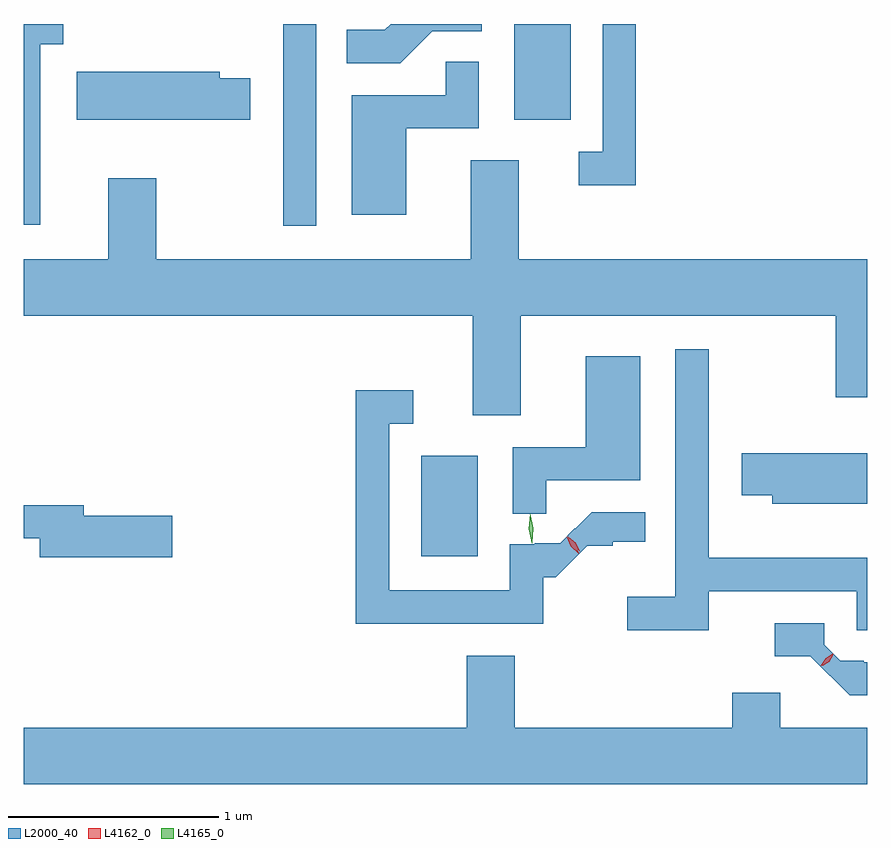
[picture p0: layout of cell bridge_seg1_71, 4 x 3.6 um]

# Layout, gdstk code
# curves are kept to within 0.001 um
import gdstk
lib = gdstk.Library(unit=1e-6, precision=1e-09)
def R(c, l, rs):  # rectangles x0, y0, x1, y1
    for r in rs: c.add(gdstk.rectangle(r[:2], r[2:], *l))
def P(c, l, *ps):  # polygons
    for p in ps: c.add(gdstk.Polygon(p, *l))
L2000_40 = (2000, 40)
L4162_0 = (4162, 0)
L4165_0 = (4165, 0)

bridge_seg1_71 = lib.new_cell('bridge_seg1_71')
R(bridge_seg1_71, L2000_40, [(1763.676,947.276,1763.944,947.754), (1763.021,948.843,1763.179,949.801), (1764.116,949.346,1764.384,949.801)])
P(bridge_seg1_71, L2000_40, [(1761.869,949.706),(1761.978,949.706),(1761.978,949.801),(1761.791,949.801),(1761.791,948.848),(1761.869,948.848)],
  [(1764.694,949.801),(1764.536,949.801),(1764.536,949.194),(1764.423,949.194),(1764.423,949.036),(1764.694,949.036)],
  [(1763.727,949.766),(1763.964,949.766),(1763.964,949.801),(1763.531,949.801),(1763.504,949.774),(1763.323,949.774),(1763.323,949.616),(1763.577,949.616)],
  [(1763.604,949.306),(1763.949,949.306),(1763.949,949.623),(1763.791,949.623),(1763.791,949.464),(1763.346,949.464),(1763.346,948.896),(1763.604,948.896)],
  [(1762.864,949.544),(1762.719,949.544),(1762.719,949.574),(1762.041,949.574),(1762.041,949.346),(1762.864,949.346)],
  [(1764.149,948.416),(1765.641,948.416),(1765.641,948.031),(1765.791,948.031),(1765.791,948.684),(1764.139,948.684),(1764.139,949.154),(1763.911,949.154),(1763.911,948.684),(1762.419,948.684),(1762.419,949.069),(1762.191,949.069),(1762.191,948.684),(1761.791,948.684),(1761.791,948.416),(1763.921,948.416),(1763.921,947.946),(1764.149,947.946)],
  [(1765.039,947.111),(1765.741,947.111),(1765.741,946.926),(1765.791,946.926),(1765.791,947.269),(1765.039,947.269),(1765.039,948.258),(1764.881,948.258),(1764.881,947.084),(1764.653,947.084),(1764.653,946.926),(1765.039,946.926)],
  [(1764.269,947.636),(1764.714,947.636),(1764.714,948.224),(1764.456,948.224),(1764.456,947.794),(1764.111,947.794),(1764.111,947.478),(1764.269,947.478)],
  [(1764.254,947.176),(1764.313,947.176),(1764.463,947.326),(1764.585,947.326),(1764.585,947.344),(1764.738,947.344),(1764.738,947.484),(1764.484,947.484),(1764.406,947.406),(1764.404,947.408),(1764.335,947.339),(1764.215,947.339),(1764.215,947.334),(1764.096,947.334),(1764.096,947.114),(1763.524,947.114),(1763.524,947.906),(1763.638,947.906),(1763.638,948.064),(1763.366,948.064),(1763.366,946.956),(1764.254,946.956)],
  [(1765.791,947.764),(1765.196,947.764),(1765.196,947.566),(1765.341,947.566),(1765.341,947.526),(1765.791,947.526)],
  [(1762.494,947.469),(1762.074,947.469),(1762.074,947.519),(1761.791,947.519),(1761.791,947.361),(1761.866,947.361),(1761.866,947.271),(1762.494,947.271)],
  [(1765.791,946.774),(1765.775,946.774),(1765.775,946.781),(1765.664,946.781),(1765.588,946.857),(1765.588,946.959),(1765.353,946.959),(1765.353,946.802),(1765.521,946.802),(1765.709,946.616),(1765.791,946.616)],
  [(1765.791,946.464),(1765.379,946.464),(1765.379,946.629),(1765.151,946.629),(1765.151,946.464),(1764.119,946.464),(1764.119,946.804),(1763.891,946.804),(1763.891,946.464),(1761.791,946.464),(1761.791,946.196),(1765.791,946.196)])
P(bridge_seg1_71, L4162_0, [(1765.572,946.756),(1765.572,946.757),(1765.594,946.792),(1765.629,946.813),(1765.63,946.813),(1765.63,946.812),(1765.608,946.777),(1765.573,946.756)],
  [(1765.58,946.758),(1765.58,946.759),(1765.596,946.789),(1765.626,946.806),(1765.627,946.806),(1765.627,946.805),(1765.611,946.775),(1765.581,946.758)],
  [(1764.423,947.289),(1764.386,947.323),(1764.365,947.368),(1764.365,947.368),(1764.366,947.368),(1764.402,947.335),(1764.424,947.29),(1764.424,947.289)],
  [(1764.427,947.299),(1764.393,947.328),(1764.374,947.368),(1764.374,947.369),(1764.374,947.369),(1764.409,947.34),(1764.428,947.299),(1764.428,947.299)])
P(bridge_seg1_71, L4165_0, [(1764.201,947.342),(1764.187,947.407),(1764.192,947.474),(1764.192,947.474),(1764.192,947.474),(1764.207,947.408),(1764.202,947.342),(1764.202,947.342)],
  [(1764.202,947.339),(1764.201,947.34),(1764.187,947.407),(1764.192,947.477),(1764.192,947.477),(1764.192,947.477),(1764.207,947.409),(1764.202,947.34)])

lib.write_gds('bridge_seg1_71.gds')
